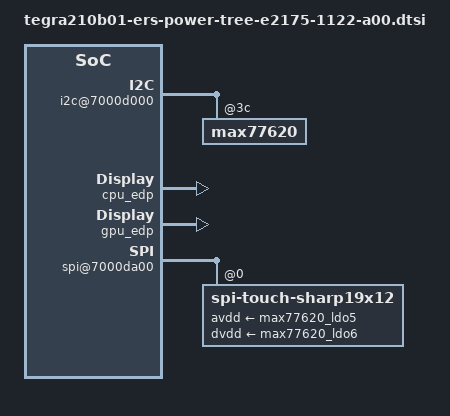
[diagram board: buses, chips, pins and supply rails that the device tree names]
/*
 * Copyright (c) 2017, NVIDIA CORPORATION.  All rights reserved.
 *
 * This program is free software; you can redistribute it and/or modify
 * it under the terms of the GNU General Public License as published by
 * the Free Software Foundation; either version 2 of the License, or
 * (at your option) any later version.
 *
 * This program is distributed in the hope that it will be useful, but WITHOUT
 * ANY WARRANTY; without even the implied warranty of MERCHANTABILITY or
 * FITNESS FOR A PARTICULAR PURPOSE.  See the GNU General Public License for
 * more details.
 *
 * You should have received a copy of the GNU General Public License along
 * with this program; if not, write to the Free Software Foundation, Inc.,
 * 51 Franklin Street, Fifth Floor, Boston, MA  02110-1301, USA.
 */

#include "tegra210b01-ers-pmic-e2175-1122-a00.dtsi"
#include "tegra210b01-ers-fixed-e2175-1122-a00.dtsi"
#include "tegra210b01-ers-pmic-e2176-1001-a00.dtsi"

/ {

	host1x {
		/* tegradc.0 */
		dc@54200000 {
			/* hdmi */
			avdd_hdmi-supply = <&max77620_ldo8>;
			avdd_hdmi_pll-supply = <&max77620_sd3>;
			vdd_hdmi_5v0-supply = <&vdd_hdmi>;

			/* dsi */
			avdd_dsi_csi-supply = <&max77620_gpio7>;

			/* dp */
			vdd-dp-pwr-supply = <&vdd_3v3>;
			avdd-dp-pll-supply = <&max77620_sd3>;
			vdd-edp-sec-mode-supply = <&vdd_sys_boost>;
			vdd-dp-pad-supply = <&max77620_ldo8>;

			/* panel */
			avdd_lcd-supply = <&vdd_3v3>;
			dvdd_lcd-supply = <&en_vdd_lcd_1v8>;
			vdd_lcd_bl_en-supply = <&lcd_bl_en>;
			vdd_lcd_bl-supply = <&battery_reg>;
			vdd_ds_1v8-supply = <&battery_reg>;
		};

		/* tegradc.1 */
		dc@54240000 {
			/* hdmi */
			avdd_hdmi-supply = <&max77620_ldo8>;
			avdd_hdmi_pll-supply = <&max77620_sd3>;
			vdd_hdmi_5v0-supply = <&vdd_hdmi>;

			/* dsi */
			avdd_dsi_csi-supply = <&max77620_gpio7>;

			/* dp */
			vdd-dp-pwr-supply = <&vdd_3v3>;
			avdd-dp-pll-supply = <&max77620_sd3>;
			vdd-edp-sec-mode-supply = <&vdd_sys_boost>;
			vdd-dp-pad-supply = <&max77620_ldo8>;

			/* panel */
			avdd_lcd-supply = <&vdd_3v3>;
			dvdd_lcd-supply = <&en_vdd_lcd_1v8>;
			vdd_lcd_bl_en-supply = <&lcd_bl_en>;
			vdd_lcd_bl-supply = <&battery_reg>;
			vdd_ds_1v8-supply = <&battery_reg>;
		};
		vi {
			avdd_dsi_csi-supply = <&max77620_gpio7>;
		};
		i2c@546c0000 {
			bus-pullup-supply = <&en_vdd_cam>;
			avdd_dsi_csi-supply = <&max77620_gpio7>;
		};
	};

	i2c@7000d000 {
		max77620@3c {
			regulators {
				sd0 {
					regulator-enable-ramp-delay = <120>;
					regulator-disable-ramp-delay = <1720>;
					maxim,ramp-rate-setting = <27500>;
					regulator-ramp-delay = <6900>;
				};

				sd1 {
					regulator-enable-ramp-delay = <120>;
					regulator-disable-ramp-delay = <29200>;
					maxim,ramp-rate-setting = <27500>;
					regulator-ramp-delay = <6900>;
				};

				sd2 {
					regulator-enable-ramp-delay = <164>;
					regulator-disable-ramp-delay = <7320>;
					maxim,ramp-rate-setting = <27500>;
					regulator-ramp-delay = <6900>;
				};

				sd3 {
					regulator-enable-ramp-delay = <204>;
					regulator-disable-ramp-delay = <58000>;
					maxim,ramp-rate-setting = <27500>;
					regulator-ramp-delay = <6900>;
				};

				ldo0 {
					regulator-enable-ramp-delay = <88>;
					regulator-disable-ramp-delay = <4480>;
					maxim,ramp-rate-setting = <100000>;
					regulator-ramp-delay = <12500>;
				};

				ldo1 {
					regulator-enable-ramp-delay = <96>;
					regulator-disable-ramp-delay = <3160>;
					maxim,ramp-rate-setting = <100000>;
					regulator-ramp-delay = <8500>;
				};

				ldo2 {
					regulator-enable-ramp-delay = <124>;
					regulator-disable-ramp-delay = <5160>;
					maxim,ramp-rate-setting = <100000>;
					regulator-ramp-delay = <3500>;
				};

				ldo3 {
					regulator-enable-ramp-delay = <56>;
					regulator-disable-ramp-delay = <788>;
					maxim,ramp-rate-setting = <100000>;
					regulator-ramp-delay = <50000>;
				};

				ldo4 {
					regulator-enable-ramp-delay = <18>;
					regulator-disable-ramp-delay = <568>;
					maxim,ramp-rate-setting = <100000>;
					regulator-ramp-delay = <50000>;
				};

				ldo5 {
					regulator-enable-ramp-delay = <300>;
					regulator-disable-ramp-delay = <7360>;
					maxim,ramp-rate-setting = <100000>;
					regulator-ramp-delay = <9900>;
				};

				ldo6 {
					regulator-enable-ramp-delay = <204>;
					regulator-disable-ramp-delay = <4720>;
					maxim,ramp-rate-setting = <100000>;
					regulator-ramp-delay = <12500>;
				};

				ldo7 {
					regulator-enable-ramp-delay = <112>;
					regulator-disable-ramp-delay = <11720>;
					maxim,ramp-rate-setting = <100000>;
					regulator-ramp-delay = <2000>;
				};

				ldo8 {
					maxim,active-fps-source = <MAX77620_FPS_SRC_0>;
					maxim,suspend-fps-source = <MAX77620_FPS_SRC_NONE>;
					regulator-enable-ramp-delay = <48>;
					regulator-disable-ramp-delay = <6160>;
					maxim,ramp-rate-setting = <100000>;
					regulator-ramp-delay = <2500>;
				};
			};
		};
	};

	regulators {
		regulator@1 {
			regulator-enable-ramp-delay = <720>;
			regulator-disable-ramp-delay = <14480>;
		};

		regulator@2 {
			regulator-enable-ramp-delay = <1056>;
			regulator-disable-ramp-delay = <2580>;
		};

		regulator@4 {
			regulator-enable-ramp-delay = <360>;
			regulator-disable-ramp-delay = <5880>;
		};

		regulator@5 {
			regulator-enable-ramp-delay = <704>;
			regulator-disable-ramp-delay = <220>;
		};

		regulator@6 {
			regulator-enable-ramp-delay = <3000>;
			regulator-disable-ramp-delay = <584000>;
		};

		regulator@7 {
			regulator-enable-ramp-delay = <468>;
			regulator-disable-ramp-delay = <398>;
		};
	};

	pmc-iopower {
		vddio-sys-supply = <&max77620_sd3>;
		vddio-uart-supply = <&max77620_sd3>;
		vddio-audio-supply = <&max77620_sd3>;
		vddio-cam-supply = <&max77620_sd3>;
		vddio-pex-ctrl-supply = <&max77620_sd3>;
		vddio-sdmmc1-supply = <&max77620_ldo2>;
		vddio-sdmmc3-supply = <&en_vddio_sdmmc3>;
		vddio-sdmmc4-supply = <&max77620_sd3>;
		vddio-audio-hv-supply = <&max77620_sd3>;
		vddio-dbg-supply = <&max77620_sd3>;
		vddio-dmic-supply = <&max77620_sd3>;
		vddio-gpio-supply = <&max77620_sd3>;
		vddio-spi-supply = <&max77620_sd3>;
		vddio-spi-hv-supply = <&max77620_sd3>;
		vddio-sdmmc2-supply = <&max77620_sd3>;
		vddio-dp-supply = <&max77620_sd3>;
	};

	pmc@7000e400 {
		bootrom-commands {
			#address-cells = <1>;
			#size-cells = <0>;
			commands@4-003c {
				nvidia,command-names = "pmic-rails";
				reg = <0x3c>;
				nvidia,enable-8bit-register;
				nvidia,enable-8bit-data;
				nvidia,controller-type-i2c;
				nvidia,controller-id = <4>;
				nvidia,enable-controller-reset;
				nvidia,write-commands = <0x00000016 0x00000020>;
			};
		};
	};

	xusb@70090000 {
		hvdd_usb-supply = <&vdd_3v3>;
		avdd_pll_utmip-supply = <&max77620_sd3>;
		avddio_usb-supply = <&max77620_ldo1>;
		avddio_pll_uerefe-supply = <&max77620_ldo7>; /* Is it always ON? */
	};


	xudc@700d0000 {
		hvdd_usb-supply = <&vdd_3v3>;
		avdd_pll_utmip-supply = <&max77620_sd3>;
		avddio_usb-supply = <&max77620_ldo1>;
	};

	xotg {
		usb_vbus-supply = <&battery_reg>;
	};

#if TEGRA_XUSB_PADCONTROL_VERSION >= DT_VERSION_2
	xusb_padctl@7009f000 {
		vddio-hsic-supply = <&max77620_ldo0>;
		avdd_pll_uerefe-supply = <&max77620_ldo7>;
		hvdd_pex_pll_e-supply = <&max77620_sd3>;
		dvdd_pex_pll-supply = <&max77620_ldo1>;
		hvddio_pex-supply = <&max77620_sd3>;
		dvddio_pex-supply = <&max77620_ldo1>;

		ports {
			usb2-0 {
				vbus-supply = <&vdd_usb23_5v0>;
			};
			usb2-1 {
				vbus-supply = <&vdd_usb1_5v0>;
			};
			usb2-2 {
				vbus-supply = <&vdd_usb1_5v0>;
			};
			usb2-3 {
				vbus-supply = <&vdd_usb1_5v0>;
			};
		};
	};
#endif

	pinctrl@7009f000 {
		vbus-0-supply = <&vdd_usb23_5v0>; /* usb23_5v0 : VBUS_EN1 */
		/* Use the below regulators when OC support is enabled
		vbus-1-supply = <&vdd_usb_oc_5v0>;
		vbus-2-supply = <&vdd_usb_oc_5v0>;
		vbus-3-supply = <&vdd_usb_oc_5v0>;
		*/
		vbus-1-supply = <&vdd_usb1_5v0>; /* usb1_5v0 : VBUS_EN0 */
		vbus-2-supply = <&vdd_usb1_5v0>;
		vbus-3-supply = <&vdd_usb1_5v0>;
		vddio-hsic-supply = <&max77620_ldo0>;
		avdd_pll_uerefe-supply = <&max77620_ldo7>;
		hvdd_pex_pll_e-supply = <&max77620_sd3>;
		dvdd_pex_pll-supply = <&max77620_ldo1>;
		hvddio_pex-supply = <&max77620_sd3>;
		dvddio_pex-supply = <&max77620_ldo1>;
	};

	sdhci@700b0600 { /* eMMC device (SDMMC4) regulator settings */
		vqmmc-supply = <&max77620_sd3>;
		vmmc-supply = <&vdd_3v3>;
	};

	sdhci@700b0400 { /* SD device (SDMMC3) regulator settings */
		vqmmc-supply = <&en_vddio_sdmmc3>;
		vmmc-supply = <&vdd_3v3>;
	};

	sdhci@700b0200 { /* SDIO device (SDMMC2) regulator settings */
		vqmmc-supply = <&max77620_sd3>;
		vmmc-supply = <&vdd_3v3>;
	};

	sdhci@700b0000 { /* SD device (SDMMC1) regulator settings */
		vqmmc-supply = <&max77620_ldo2>;
		vmmc-supply = <&en_vdd_sd>;
	};

	pcie-controller@1003000 {
		dvdd-pex-pll-supply = <&max77620_ldo1>;
		l0-dvddio-pex-supply = <&max77620_ldo1>;
		l1-dvddio-pex-supply = <&max77620_ldo1>;
		l2-dvddio-pex-supply = <&max77620_ldo1>;
		l3-dvddio-pex-supply = <&max77620_ldo1>;
		l4-dvddio-pex-supply = <&max77620_ldo1>;
		l5-dvddio-pex-supply = <&max77620_ldo1>;
		l6-dvddio-pex-supply = <&max77620_ldo1>;
		hvdd-pex-pll-e-supply = <&max77620_sd3>;
		l0-hvddio-pex-supply = <&max77620_sd3>;
		l1-hvddio-pex-supply = <&max77620_sd3>;
		l2-hvddio-pex-supply = <&max77620_sd3>;
		l3-hvddio-pex-supply = <&max77620_sd3>;
		l4-hvddio-pex-supply = <&max77620_sd3>;
		l5-hvddio-pex-supply = <&max77620_sd3>;
		l6-hvddio-pex-supply = <&max77620_sd3>;
		vddio-pex-ctl-supply = <&max77620_sd3>;
	};

	clock@70110000 {
                vdd-cpu-supply = <&cpu_ovr_reg>;
	};

	cpu_edp {
		status = "okay";
		nvidia,edp_limit = <25000>;
	};

	gpu_edp {
		status = "okay";
		nvidia,edp_limit = <20000>;
	};

	spi@7000da00 {
		spi-touch-sharp19x12@0 {
			avdd-supply = <&max77620_ldo5>;
			dvdd-supply = <&max77620_ldo6>;
		};
	};
};
